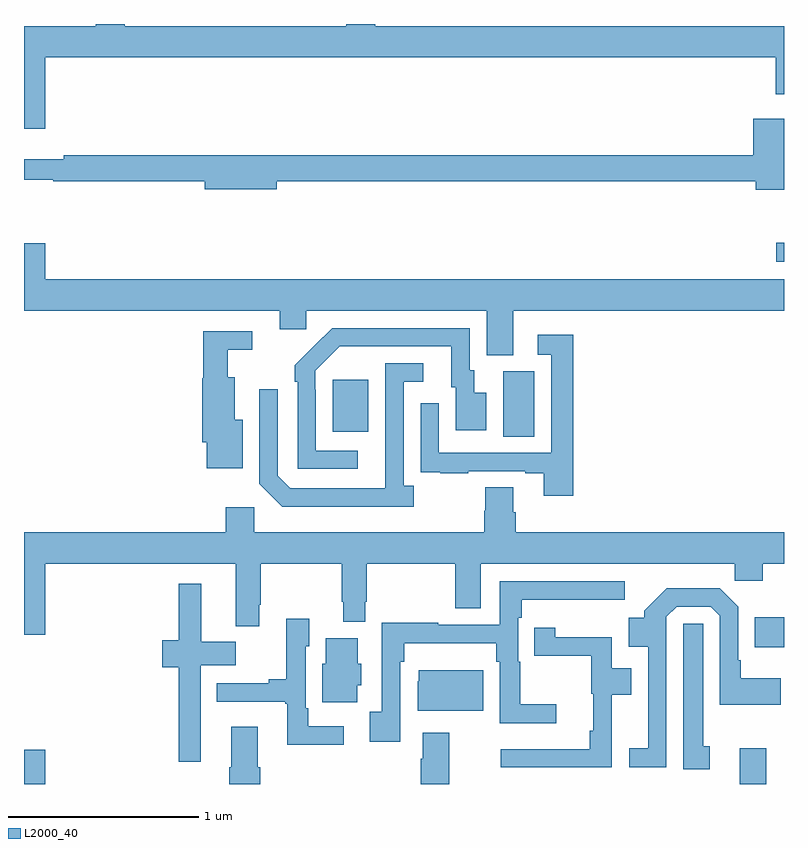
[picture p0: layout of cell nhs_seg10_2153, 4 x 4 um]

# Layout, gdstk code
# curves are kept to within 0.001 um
import gdstk
lib = gdstk.Library(unit=1e-6, precision=1e-09)
def R(c, l, rs):  # rectangles x0, y0, x1, y1
    for r in rs: c.add(gdstk.rectangle(r[:2], r[2:], *l))
def P(c, l, *ps):  # polygons
    for p in ps: c.add(gdstk.Polygon(p, *l))
L2000_40 = (2000, 40)

nhs_seg10_2153 = lib.new_cell('nhs_seg10_2153')
R(nhs_seg10_2153, L2000_40, [(225,1288.5,225.112,1288.681), (228.767,1288.5,228.907,1288.687), (228.846,1289.219,229,1289.377), (227.522,1290.328,227.686,1290.672), (226.625,1290.353,226.813,1290.628), (228.96,1291.248,229,1291.349)])
P(nhs_seg10_2153, L2000_40, [(225.112,1292.324),(228.956,1292.324),(228.956,1292.13),(229,1292.13),(229,1292.488),(226.848,1292.488),(226.848,1292.5),(226.697,1292.5),(226.697,1292.488),(225.529,1292.488),(225.529,1292.5),(225.377,1292.5),(225.377,1292.488),(225,1292.488),(225,1291.95),(225.112,1291.95)],
  [(229,1292.002),(228.839,1292.002),(228.839,1291.808),(225.208,1291.808),(225.208,1291.789),(225,1291.789),(225,1291.68),(225.154,1291.68),(225.154,1291.672),(225.95,1291.672),(225.95,1291.63),(226.33,1291.63),(226.33,1291.672),(228.851,1291.672),(228.851,1291.628),(229,1291.628)],
  [(227.575,1290.992),(229,1290.992),(229,1291.156),(225.112,1291.156),(225.112,1291.345),(225,1291.345),(225,1290.992),(226.346,1290.992),(226.346,1290.894),(226.485,1290.894),(226.485,1290.992),(227.435,1290.992),(227.435,1290.757),(227.575,1290.757)],
  [(226.756,1290.255),(226.536,1290.255),(226.536,1290.575),(226.533,1290.575),(226.533,1290.675),(226.662,1290.804),(227.249,1290.804),(227.249,1290.588),(227.273,1290.588),(227.273,1290.363),(227.434,1290.363),(227.434,1290.559),(227.371,1290.559),(227.371,1290.678),(227.346,1290.678),(227.346,1290.9),(226.622,1290.9),(226.425,1290.705),(226.425,1290.617),(226.44,1290.617),(226.44,1290.159),(226.756,1290.159)],
  [(226.15,1290.418),(226.108,1290.418),(226.108,1290.64),(226.072,1290.64),(226.072,1290.785),(226.201,1290.785),(226.201,1290.882),(225.943,1290.882),(225.943,1290.636),(225.938,1290.636),(225.938,1290.3),(225.962,1290.3),(225.962,1290.161),(226.15,1290.161)],
  [(227.891,1290.865),(227.703,1290.865),(227.703,1290.759),(227.775,1290.759),(227.775,1290.243),(227.184,1290.243),(227.184,1290.505),(227.088,1290.505),(227.088,1290.25),(227.089,1290.25),(227.089,1290.141),(227.191,1290.141),(227.191,1290.135),(227.339,1290.135),(227.339,1290.147),(227.639,1290.147),(227.639,1290.135),(227.735,1290.135),(227.735,1290.018),(227.891,1290.018)],
  [(227.05,1290.07),(226.998,1290.07),(226.998,1290.618),(227.101,1290.618),(227.101,1290.714),(226.902,1290.714),(226.901,1290.057),(226.401,1290.057),(226.335,1290.123),(226.335,1290.577),(226.239,1290.577),(226.239,1290.081),(226.36,1289.96),(227.05,1289.96)],
  [(225.112,1289.66),(226.115,1289.66),(226.115,1289.331),(226.237,1289.331),(226.237,1289.443),(226.245,1289.443),(226.245,1289.66),(226.672,1289.66),(226.672,1289.458),(226.679,1289.458),(226.679,1289.353),(226.795,1289.353),(226.795,1289.458),(226.803,1289.458),(226.803,1289.66),(227.269,1289.66),(227.269,1289.424),(227.404,1289.424),(227.404,1289.66),(228.742,1289.66),(228.742,1289.57),(228.889,1289.57),(228.889,1289.66),(229,1289.66),(229,1289.824),(227.588,1289.824),(227.588,1289.93),(227.575,1289.93),(227.575,1290.062),(227.428,1290.062),(227.428,1289.937),(227.423,1289.937),(227.423,1289.824),(226.212,1289.824),(226.212,1289.956),(226.061,1289.956),(226.061,1289.824),(225,1289.824),(225,1289.286),(225.112,1289.286)],
  [(226.98,1289.144),(227,1289.144),(227,1289.24),(227.485,1289.24),(227.485,1289.144),(227.505,1289.144),(227.505,1288.82),(227.8,1288.82),(227.8,1288.92),(227.611,1288.92),(227.611,1289.144),(227.601,1289.144),(227.601,1289.375),(227.621,1289.375),(227.621,1289.471),(228.163,1289.471),(228.163,1289.568),(227.505,1289.568),(227.505,1289.337),(227.18,1289.337),(227.18,1289.35),(226.884,1289.35),(226.884,1288.881),(226.821,1288.881),(226.821,1288.722),(226.98,1288.722)],
  [(225.931,1288.883),(225.93,1288.883),(225.93,1289.126),(226.115,1289.126),(226.115,1289.248),(225.932,1289.248),(225.932,1289.554),(225.814,1289.554),(225.814,1289.256),(225.728,1289.256),(225.728,1289.114),(225.814,1289.114),(225.814,1288.617),(225.931,1288.617)],
  [(228.381,1289.379),(228.435,1289.433),(228.615,1289.433),(228.663,1289.385),(228.663,1288.916),(228.982,1288.916),(228.982,1289.056),(228.772,1289.056),(228.772,1289.152),(228.759,1289.152),(228.759,1289.433),(228.662,1289.53),(228.382,1289.53),(228.265,1289.413),(228.265,1289.374),(228.182,1289.374),(228.182,1289.222),(228.285,1289.222),(228.285,1288.688),(228.186,1288.688),(228.186,1288.587),(228.381,1288.587)],
  [(226.684,1288.803),(226.495,1288.803),(226.495,1288.9),(226.482,1288.9),(226.482,1289.226),(226.501,1289.226),(226.501,1289.371),(226.381,1289.371),(226.381,1289.051),(226.289,1289.051),(226.289,1289.031),(226.015,1289.031),(226.015,1288.934),(226.374,1288.934),(226.374,1288.923),(226.385,1288.923),(226.385,1288.706),(226.684,1288.706)],
  [(228.61,1288.698),(228.574,1288.698),(228.574,1289.343),(228.47,1289.343),(228.47,1288.578),(228.61,1288.578)],
  [(228.093,1288.97),(228.196,1288.97),(228.196,1289.11),(228.093,1289.11),(228.093,1289.273),(227.797,1289.273),(227.797,1289.323),(227.686,1289.323),(227.686,1289.174),(227.985,1289.174),(227.985,1288.974),(227.996,1288.974),(227.996,1288.78),(227.977,1288.78),(227.977,1288.684),(227.508,1288.684),(227.508,1288.587),(228.093,1288.587)],
  [(226.755,1289.019),(226.774,1289.019),(226.774,1289.133),(226.756,1289.133),(226.756,1289.268),(226.589,1289.268),(226.589,1289.133),(226.571,1289.133),(226.571,1288.929),(226.755,1288.929)],
  [(227.416,1289.098),(227.078,1289.098),(227.078,1289.04),(227.072,1289.04),(227.072,1288.886),(227.416,1288.886)],
  [(226.244,1288.588),(226.231,1288.588),(226.231,1288.801),(226.091,1288.801),(226.091,1288.588),(226.079,1288.588),(226.079,1288.5),(226.244,1288.5)],
  [(227.239,1288.771),(227.099,1288.771),(227.099,1288.634),(227.087,1288.634),(227.087,1288.5),(227.239,1288.5)])

lib.write_gds('nhs_seg10_2153.gds')
